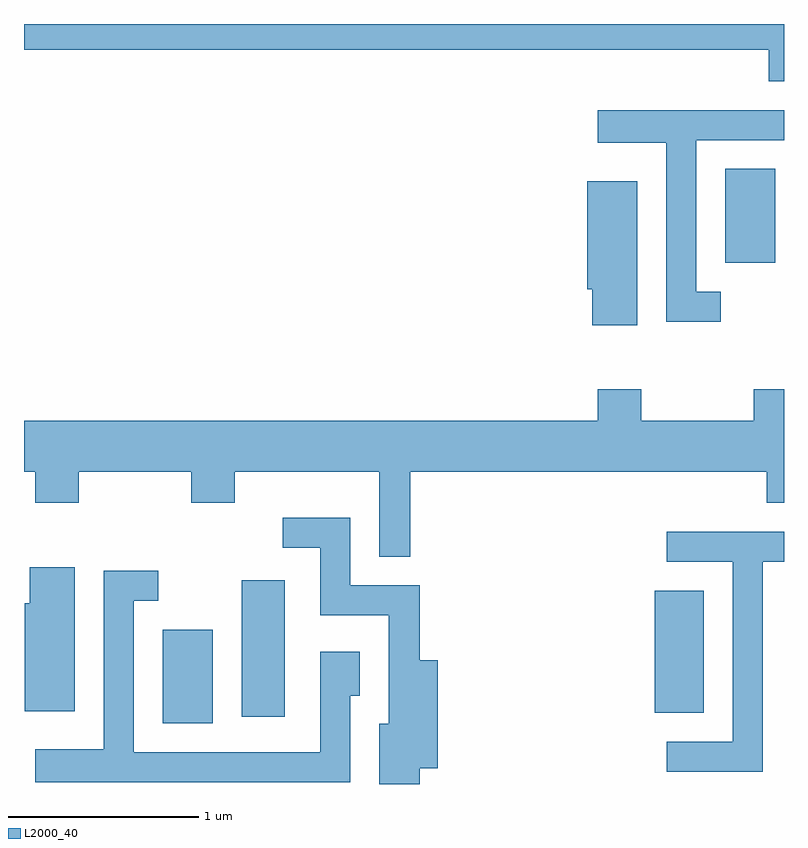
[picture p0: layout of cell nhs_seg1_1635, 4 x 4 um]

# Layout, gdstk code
import gdstk
lib = gdstk.Library(unit=1e-6, precision=1e-09)
def R(c, l, rs):  # rectangles x0, y0, x1, y1
    for r in rs: c.add(gdstk.rectangle(r[:2], r[2:], *l))
def P(c, l, *ps):  # polygons
    for p in ps: c.add(gdstk.Polygon(p, *l))
L2000_40 = (2000, 40)

nhs_seg1_1635 = lib.new_cell('nhs_seg1_1635')
R(nhs_seg1_1635, L2000_40, [(236.341,896.031,236.604,896.524), (236.756,896.066,236.984,896.784), (238.931,896.086,239.189,896.729), (239.301,898.456,239.564,898.949)])
P(nhs_seg1_1635, L2000_40, [(239.611,899.712),(235.611,899.712),(235.611,899.576),(239.531,899.576),(239.531,899.411),(239.611,899.411)],
  [(239.278,898.304),(239.149,898.304),(239.149,899.101),(239.611,899.101),(239.611,899.259),(238.631,899.259),(238.631,899.086),(238.991,899.086),(238.991,898.146),(239.278,898.146)],
  [(238.839,898.884),(238.576,898.884),(238.576,898.316),(238.601,898.316),(238.601,898.126),(238.839,898.126)],
  [(237.644,897.356),(239.521,897.356),(239.521,897.191),(239.611,897.191),(239.611,897.789),(239.451,897.789),(239.451,897.624),(238.859,897.624),(238.859,897.789),(238.631,897.789),(238.631,897.624),(235.611,897.624),(235.611,897.356),(235.671,897.356),(235.671,897.191),(235.899,897.191),(235.899,897.356),(236.491,897.356),(236.491,897.191),(236.719,897.191),(236.719,897.356),(237.481,897.356),(237.481,896.908),(237.644,896.908)],
  [(237.694,895.796),(237.789,895.796),(237.789,896.364),(237.694,896.364),(237.694,896.759),(237.329,896.759),(237.329,897.114),(236.973,897.114),(236.973,896.956),(237.171,896.956),(237.171,896.601),(237.531,896.601),(237.531,896.029),(237.481,896.029),(237.481,895.712),(237.694,895.712)],
  [(239.499,896.881),(239.611,896.881),(239.611,897.039),(238.993,897.039),(238.993,896.881),(239.341,896.881),(239.341,895.934),(238.993,895.934),(238.993,895.776),(239.499,895.776)],
  [(235.879,896.854),(235.641,896.854),(235.641,896.664),(235.616,896.664),(235.616,896.096),(235.879,896.096)],
  [(237.329,896.176),(237.379,896.176),(237.379,896.409),(237.171,896.409),(237.171,895.879),(236.189,895.879),(236.189,896.676),(236.318,896.676),(236.318,896.834),(236.031,896.834),(236.031,895.894),(235.671,895.894),(235.671,895.721),(237.329,895.721)])

lib.write_gds('nhs_seg1_1635.gds')
